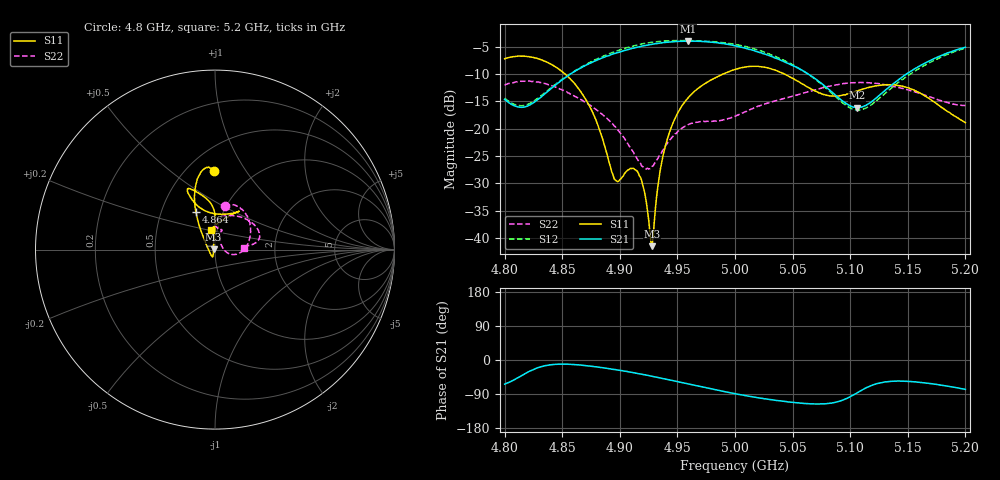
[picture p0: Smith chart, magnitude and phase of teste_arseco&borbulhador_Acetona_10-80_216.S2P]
! Network Analyzer HP8722D
! Hewlett-Packard
! Data name: Linha & Wilkinson
! Saver's name: Rodrigo Anjos
! Comments: Teste da utilização de aquisição
! continua pelo VNA HP8722D
! Time and date: 25/4/2025 17:04
!  Frequency  S11  S21  S12  S22
# HZ  S  MA R 50
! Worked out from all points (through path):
!   401 points, 4.8 GHz to 5.2 GHz, reference 50 ohm
!   highest |S21| = -3.99 dB at 4.959 GHz (marker M1); lowest = -16.2 dB at 5.106 GHz (marker M2)
!   lowest |S11| = -41.4 dB at 4.928 GHz (marker M3), VSWR 1.02, Z = 49.2 + j0.146 ohm
!   |S11| at or under -10 dB: 4.852 GHz to 4.99 GHz (137.4 MHz wide, 2.79 % of centre); 5.043 GHz to end of sweep
!   |S22| runs from -27.4 to -11.3 dB; largest |S21 - S12| = 1.2
!   S11 on the Smith chart (normalised r, x): 4.8 GHz: 0.67, +0.72; 4.864 GHz: 0.75, +0.33; 5.2 GHz: 0.93, +0.21
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4.8e9  0.4355 91.0  0.1847 -63.6  0.1902 69.9  0.2489 77.2
4.82e9  0.4549 97.2  0.1609 -32.2  0.1669 98.6  0.2737 61.6
4.844e9  0.3681 107.1  0.2499 -11.5  0.2532 119.2  0.2396 35.7
4.864e9  0.2341 117.0  0.3489 -12.7  0.3524 121.0  0.1896 12.1
4.867e9  0.2108 118.7  0.3622 -13.8  0.367 120.7  0.183 8.7
4.88e9  0.1143 128.9  0.4223 -18.3  0.4327 118.2  0.1481 -5.1
4.896e9  0.03419 -169.4  0.4873 -25.3  0.5055 113.2  0.1044 -15.4
4.91e9  0.04332 -109.9  0.5378 -32.6  0.5633 107.1  0.06529 -13.0
4.917e9  0.03715 -106.7  0.5591 -36.4  0.5881 103.5  0.04929 -0.2
4.921e9  0.02776 -111.1  0.5739 -38.6  0.6 101.3  0.04412 13.0
4.926e9  0.01159 -142.2  0.5847 -41.7  0.6106 98.4  0.04307 33.6
4.928e9  0.008468 169.9  0.5898 -42.8  0.6159 97.0  0.0453 40.7
4.934e9  0.03507 101.4  0.6014 -46.6  0.6264 93.3  0.05604 57.8
4.944e9  0.09849 91.4  0.6203 -53.1  0.6334 87.0  0.08029 68.7
4.959e9  0.1901 90.1  0.6318 -62.8  0.6377 77.4  0.1084 70.9
5e9  0.3472 109.2  0.571 -88.9  0.5902 50.8  0.1301 88.0
5.03e9  0.3552 115.3  0.4637 -104.2  0.4794 33.9  0.1728 85.2
5.067e9  0.2279 105.6  0.2994 -115.8  0.2967 23.6  0.2221 57.1
5.106e9  0.2202 65.3  0.1552 -86.6  0.1477 56.3  0.2632 24.7
5.134e9  0.2517 57.9  0.2414 -56.6  0.2263 88.9  0.2479 12.3
5.17e9  0.184 71.5  0.4217 -62.4  0.4057 84.6  0.194 6.9
5.2e9  0.1136 101.0  0.5538 -77.6  0.5432 70.0  0.1623 3.7
